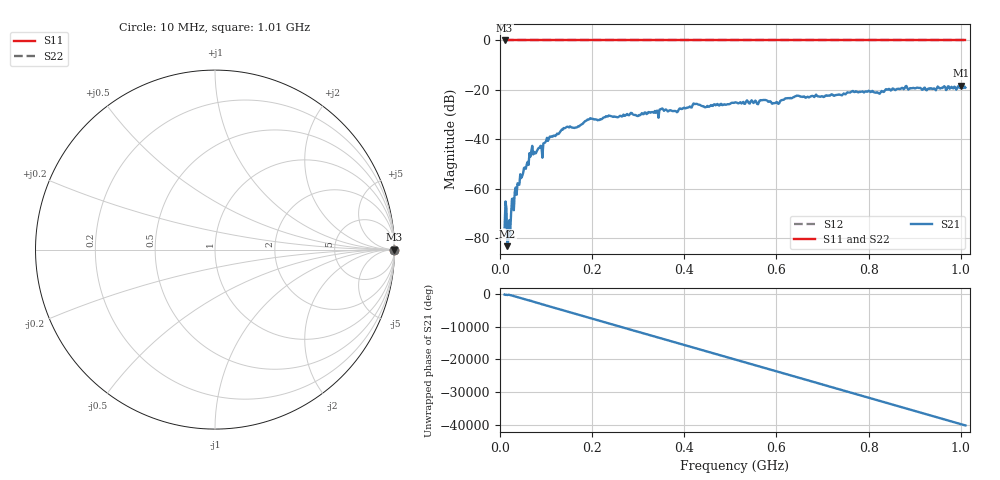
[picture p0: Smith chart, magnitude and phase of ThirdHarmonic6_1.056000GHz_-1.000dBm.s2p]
! 8/16/2025 9:24:07 AM
! C:\ANRITSUVNA\TEMP\TEMP.S2P
! CHANNEL.1
! TR.MEASUREMENT
! RAW.DATA
! RF.CORRECTION.OFF
! AVERAGING.OFF
! IF.BANDWIDTH: 5KHZ
! SWEEPTYPE:  FREQ.SWEEP(Linear)
! Reference Plane Port Info
! PORT:  PORT1  PORT2
! DISTANCE:  0  m  0  m
! TIME:  0  s  0  s
! PHASE.OFFSET:  0  deg.  0  deg.
! LOSS:  0  dB  0  dB
! REF.LOSS:  0  dB  0  dB
! REF.FREQ:  0  Hz  0  Hz
! Power Info
! POWER:  -20  dBm  -20  dBm
! EFF.POWER:  -20  dBm  -20  dBm
! SOURCE.ATTEN:  0  dB  0  dB
! TEST.ATTEN:  0  dB  0  dB
# GHZ S RI R 50.0
! FREQ.GHZ  S11RE  S11IM  S21RE  S21IM  S12RE  S12IM  S22RE  S22IM
!; PortSelection: Port_12
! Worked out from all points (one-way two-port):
!   501 points, 10 MHz to 1.01 GHz, reference 50 ohm
!   highest |S21| = -18.27 dB at 1 GHz (marker M1); lowest = -83.2 dB at 16 MHz (marker M2)
!   lowest |S11| = 0.0 dB at 10 MHz (marker M3)
!   |S11| at or under -10 dB: nowhere
!   |S22| runs from 0.0 to 0.0 dB; largest |S21 - S12| = 1.1
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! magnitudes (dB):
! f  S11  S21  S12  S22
! 10 MHz  0.0  -75.5  0.0  0.0
! 16 MHz  0.0  -83.2  0.0  0.0
! 20 MHz  0.0  -72.8  0.0  0.0
! 24 MHz  0.0  -70.2  0.0  0.0
! 30 MHz  0.0  -68.7  0.0  0.0
! 68 MHz  0.0  -44.7  0.0  0.0
! 88 MHz  0.0  -42.6  0.0  0.0
! 106 MHz  0.0  -39.8  0.0  0.0
! 142 MHz  0.0  -35.4  0.0  0.0
! 178 MHz  0.0  -33.8  0.0  0.0
! 194 MHz  0.0  -31.9  0.0  0.0
! 344 MHz  0.0  -31.3  0.0  0.0
! 382 MHz  0.0  -28.6  0.0  0.0
! 424 MHz  0.0  -25.7  0.0  0.0
! 448 MHz  0.0  -26.9  0.0  0.0
! 510 MHz  0.0  -25.0  0.0  0.0
! 594 MHz  0.0  -25.3  0.0  0.0
! 644 MHz  0.0  -22.3  0.0  0.0
! 678 MHz  0.0  -22.4  0.0  0.0
! 844 MHz  0.0  -19.6  0.0  0.0
! 1 GHz  0.0  -18.3  0.0  0.0
! 1.01 GHz  0.0  -19.1  0.0  0.0
